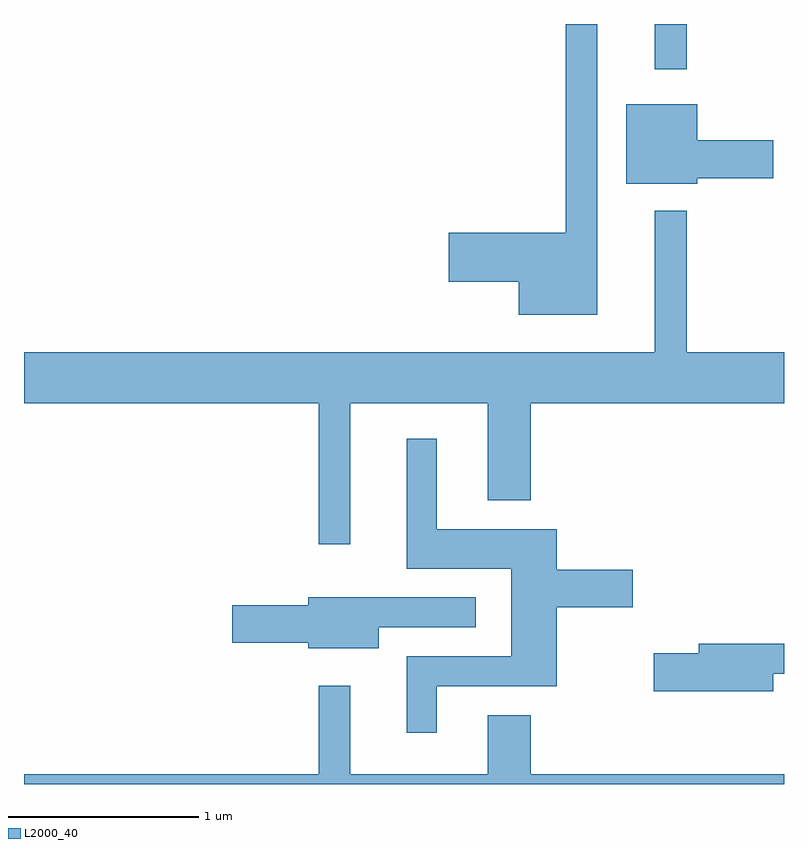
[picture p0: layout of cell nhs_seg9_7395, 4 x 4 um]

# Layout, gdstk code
import gdstk
lib = gdstk.Library(unit=1e-6, precision=1e-09)
def R(c, l, rs):  # rectangles x0, y0, x1, y1
    for r in rs: c.add(gdstk.rectangle(r[:2], r[2:], *l))
def P(c, l, *ps):  # polygons
    for p in ps: c.add(gdstk.Polygon(p, *l))
L2000_40 = (2000, 40)

nhs_seg9_7395 = lib.new_cell('nhs_seg9_7395')
R(nhs_seg9_7395, L2000_40, [(406.931,2040.193,407.099,2040.432)])
P(nhs_seg9_7395, L2000_40, [(406.629,2040.432),(406.461,2040.432),(406.461,2039.334),(405.846,2039.334),(405.846,2039.076),(406.216,2039.076),(406.216,2038.901),(406.629,2038.901)],
  [(407.154,2039.621),(407.554,2039.621),(407.554,2039.819),(407.154,2039.819),(407.154,2040.009),(406.781,2040.009),(406.781,2039.591),(407.154,2039.591)],
  [(405.329,2038.436),(406.051,2038.436),(406.051,2037.926),(406.279,2037.926),(406.279,2038.436),(407.611,2038.436),(407.611,2038.704),(407.099,2038.704),(407.099,2039.448),(406.931,2039.448),(406.931,2038.704),(403.611,2038.704),(403.611,2038.436),(405.161,2038.436),(405.161,2037.693),(405.329,2037.693)],
  [(405.784,2036.946),(406.414,2036.946),(406.414,2037.361),(406.814,2037.361),(406.814,2037.559),(406.414,2037.559),(406.414,2037.774),(405.784,2037.774),(405.784,2038.248),(405.626,2038.248),(405.626,2037.566),(406.176,2037.566),(406.176,2037.104),(405.626,2037.104),(405.626,2036.703),(405.784,2036.703)],
  [(405.479,2037.256),(405.988,2037.256),(405.988,2037.414),(405.106,2037.414),(405.106,2037.374),(404.706,2037.374),(404.706,2037.176),(405.106,2037.176),(405.106,2037.146),(405.479,2037.146)],
  [(407.554,2037.011),(407.611,2037.011),(407.611,2037.169),(407.161,2037.169),(407.161,2037.119),(406.926,2037.119),(406.926,2036.921),(407.554,2036.921)],
  [(407.611,2036.484),(406.279,2036.484),(406.279,2036.794),(406.051,2036.794),(406.051,2036.484),(405.329,2036.484),(405.329,2036.948),(405.161,2036.948),(405.161,2036.484),(403.611,2036.484),(403.611,2036.432),(407.611,2036.432)])

lib.write_gds('nhs_seg9_7395.gds')
